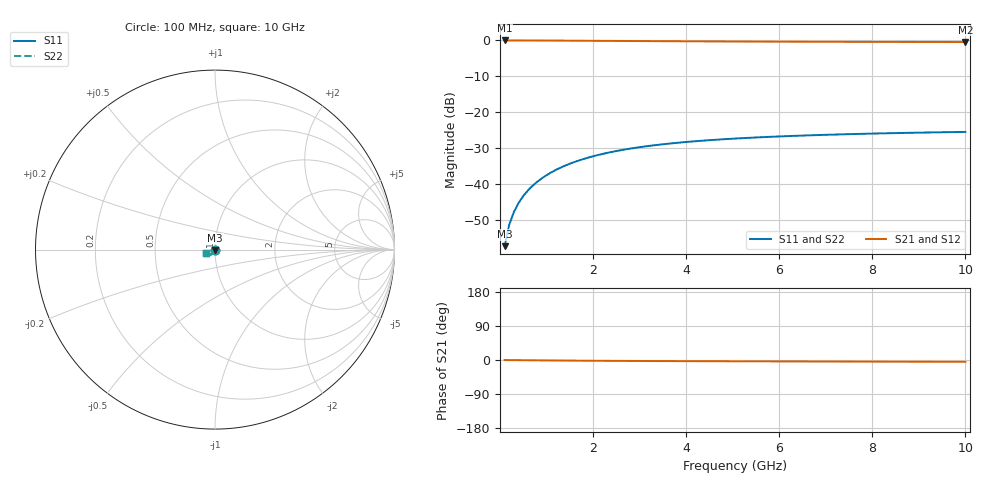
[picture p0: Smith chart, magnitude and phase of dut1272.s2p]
! Touchstone file exported from HFSS 2024.1.0
!  File:  C:/UserFiles/LocalFiles/RDL_TSV_Batchsim/temp_TSV1_1272_1780254534.aedt
!  Generated:  03:14:59 AM Jun  1, 2026
!  Design:  TSV1
!  Project:  temp_TSV1_1272_1780254534
!  Setup:  Setup1
!  Solution:  Sweep
! Variables:
!  dtsv = 11.64um
!  hbump = 3um
!  htsv = 72.88um
!  lrdl = 252.1521522um
!  p = 40
!  p1 = 40.97um
!  t = 500um
!  trdl = 3um
!  wrdl = 24.89489489um
# GHz S MA R 50.000000
! Terminal data exported
! Port[1] = TSV22_T1
! Port[2] = TSV22_T2
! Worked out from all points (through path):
!   100 points, 100 MHz to 10 GHz, reference 50 ohm
!   highest |S21| = 0.00 dB at 100 MHz (marker M1); lowest = -0.4 dB at 10 GHz (marker M2)
!   lowest |S11| = -57.4 dB at 100 MHz (marker M3), VSWR 1.00, Z = 50 - j0.135 ohm
!   |S11| at or under -10 dB: start of sweep to end of sweep
!   |S22| runs from -57.4 to -25.5 dB; largest |S21 - S12| = 3e-15
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0.1  0.001356 -87.0  0.9999 -0.1  0.9999 -0.1  0.001356 -87.0
! Gamma 0 0 0 0
! Port Impedance 50 0 50 0
0.2  0.002713 -90.4  0.9997 -0.2  0.9997 -0.2  0.002713 -90.4
0.3  0.004073 -92.6  0.9996 -0.3  0.9996 -0.3  0.004073 -92.6
0.4  0.005426 -94.4  0.9993 -0.5  0.9993 -0.5  0.005426 -94.4
0.5  0.006769 -96.1  0.999 -0.6  0.999 -0.6  0.006769 -96.1
0.6  0.008098 -97.7  0.9986 -0.7  0.9986 -0.7  0.008098 -97.7
0.7  0.009412 -99.2  0.9982 -0.8  0.9982 -0.8  0.009412 -99.2
0.8  0.01071 -100.7  0.9977 -0.9  0.9977 -0.9  0.01071 -100.7
0.9  0.01198 -102.2  0.9971 -1.0  0.9971 -1.0  0.01198 -102.2
1.1  0.01446 -105.0  0.9959 -1.2  0.9959 -1.2  0.01446 -105.0
1.4  0.01799 -109.0  0.9938 -1.5  0.9938 -1.5  0.01799 -109.0
1.6  0.02021 -111.6  0.9922 -1.7  0.9922 -1.7  0.02021 -111.6
1.8  0.0223 -114.0  0.9906 -1.8  0.9906 -1.8  0.0223 -114.0
2.1  0.02523 -117.4  0.9881 -2.0  0.9881 -2.0  0.02523 -117.4
2.5  0.02873 -121.7  0.9847 -2.3  0.9847 -2.3  0.02873 -121.7
2.9  0.0318 -125.5  0.9815 -2.5  0.9815 -2.5  0.0318 -125.5
3.4  0.0351 -129.7  0.9776 -2.8  0.9776 -2.8  0.0351 -129.7
4.2  0.03938 -135.4  0.972 -3.1  0.972 -3.1  0.03938 -135.4
5.1  0.04306 -140.6  0.9667 -3.4  0.9667 -3.4  0.04306 -140.6
6.7  0.04769 -147.7  0.9596 -3.9  0.9596 -3.9  0.04769 -147.7
8.4  0.05097 -153.3  0.9544 -4.3  0.9544 -4.3  0.05097 -153.3
10  0.05311 -157.4  0.9508 -4.8  0.9508 -4.8  0.05311 -157.4
